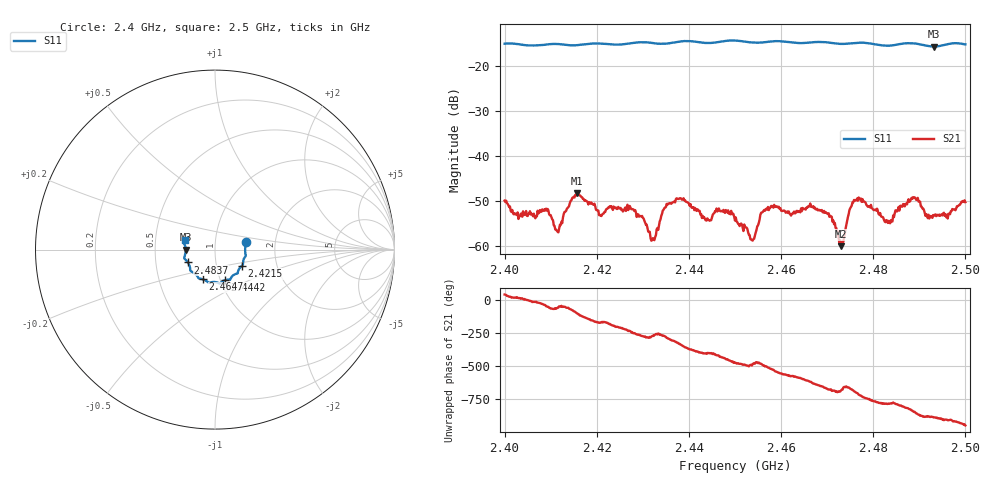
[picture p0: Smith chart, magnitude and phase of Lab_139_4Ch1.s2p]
# Hz S RI R 50
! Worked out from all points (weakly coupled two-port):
!   601 points, 2.4 GHz to 2.5 GHz, reference 50 ohm
!   highest |S21| = -48.34 dB at 2.4157 GHz (marker M1); lowest = -60.0 dB at 2.473 GHz (marker M2)
!   lowest |S11| = -15.7 dB at 2.4932 GHz (marker M3), VSWR 1.39, Z = 35.9 - j0.0439 ohm
!   |S11| at or under -10 dB: start of sweep to end of sweep
!   S12 and S22 are empty: the file has one direction only
!   S11 on the Smith chart (normalised r, x): 2.4 GHz: 1.41, +0.12; 2.4215 GHz: 1.33, -0.25; 2.4442 GHz: 1.05, -0.37; 2.4647 GHz: 0.83, -0.28; 2.4837 GHz: 0.73, -0.11; 2.5 GHz: 0.71, +0.07
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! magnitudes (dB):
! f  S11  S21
! 2.4 GHz  -15.1  -49.9
! 2.409 GHz  -15.3  -51.7
! 2.4113 GHz  -15.2  -56.6
! 2.4157 GHz  -15.4  -48.3
! 2.4167 GHz  -15.3  -49.1
! 2.4215 GHz  -15.1  -52.8
! 2.4322 GHz  -15.0  -58.3
! 2.4333 GHz  -15.1  -56.4
! 2.4377 GHz  -14.7  -49.6
! 2.4442 GHz  -15.0  -54.2
! 2.45 GHz  -14.4  -54.4
! 2.4538 GHz  -14.8  -58.8
! 2.4567 GHz  -14.7  -51.8
! 2.4647 GHz  -15.0  -51.6
! 2.4667 GHz  -14.8  -51.3
! 2.473 GHz  -15.1  -60.0
! 2.4763 GHz  -14.9  -49.8
! 2.4833 GHz  -15.6  -54.4
! 2.4837 GHz  -15.5  -55.0
! 2.4887 GHz  -15.0  -49.2
! 2.4932 GHz  -15.7  -53.3
! 2.5 GHz  -15.3  -50.3
